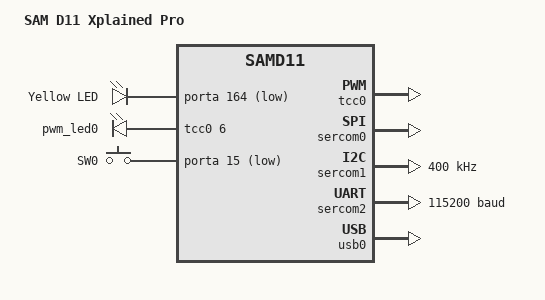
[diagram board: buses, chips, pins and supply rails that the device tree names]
/*
 * Copyright (c) 2018 Bryan O'Donoghue
 *
 * SPDX-License-Identifier: Apache-2.0
 */

/dts-v1/;
#include <atmel/samd11.dtsi>

/ {
	model = "SAM D11 Xplained Pro";
	compatible = "atsamd11,xpro", "atmel,samd11d14a", "atmel,samd11";

	chosen {
		zephyr,console = &sercom2;
		zephyr,shell-uart = &sercom2;
		zephyr,sram = &sram0;
		zephyr,flash = &flash0;
	};

	/* These aliases are provided for compatibility with samples */
	aliases {
		led0 = &led0;
		pwm-led0 = &pwm_led0;
		sw0 = &user_button;
		i2c-0 = &sercom2;
	};

	leds {
		compatible = "gpio-leds";
		led0: led_0 {
			gpios = <&porta 164 GPIO_ACTIVE_LOW>;
			label = "Yellow LED";
		};
	};

	pwmleds {
		compatible = "pwm-leds";
		pwm_led0: pwm_led_0 {
			pwms = <&tcc0 6>;
		};
	};

	buttons {
		compatible = "gpio-keys";
		user_button: button_0 {
			gpios = <&porta 15 (GPIO_PULL_UP | GPIO_ACTIVE_LOW)>;
			label = "SW0";
		};
	};
};

&cpu0 {
	clock-frequency = <48000000>;
};

&tcc0 {
	status = "okay";
	compatible = "atmel,sam0-tcc-pwm";
	/* Gives a maximum period of 1.4s */
	prescaler = <4>;
	#pwm-cells = <1>;
};

&sercom0 {
	status = "okay";
	compatible = "atmel,sam0-spi";
	dipo = <0>;
	dopo = <3>;
	#address-cells = <1>;
	#size-cells = <0>;
};

&sercom1 {
	status = "okay";
	compatible = "atmel,sam0-i2c";
	clock-frequency = <I2C_BITRATE_FAST>;
	#address-cells = <1>;
	#size-cells = <0>;
};

&sercom2 {
	status = "okay";
	compatible = "atmel,sam0-uart";
	current-speed = <115200>;
	rxpo = <3>;
	txpo = <2>;
};

&usb0 {
	status = "okay";
};
